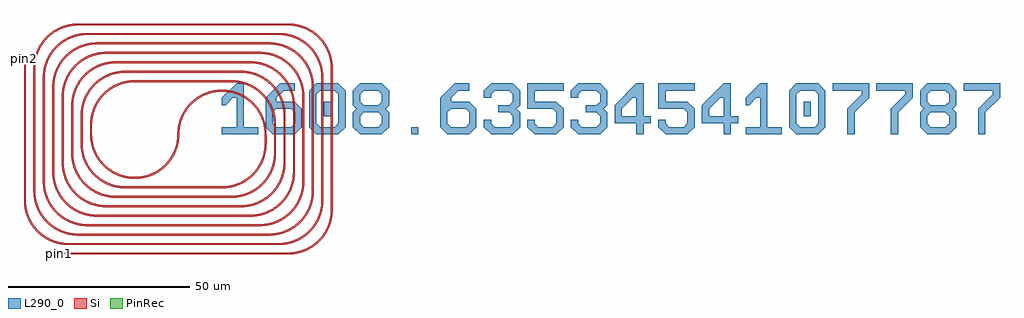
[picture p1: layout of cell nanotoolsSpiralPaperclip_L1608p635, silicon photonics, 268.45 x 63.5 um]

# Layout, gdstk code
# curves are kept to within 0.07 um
import gdstk
lib = gdstk.Library(unit=1e-6, precision=1e-09)
def R(c, l, rs):  # rectangles x0, y0, x1, y1
    for r in rs: c.add(gdstk.rectangle(r[:2], r[2:], *l))
def P(c, l, *ps):  # polygons
    for p in ps: c.add(gdstk.Polygon(p, *l))
Si = (1, 0)
PinRec = (1, 10)
L290_0 = (290, 0)

nanotoolsspiralpaperclip = lib.new_cell('nanotoolsSpiralPaperclip_L1608p635')
R(nanotoolsspiralpaperclip, Si, [(-44.8,-33.05,18.2,-32.55), (-42.2,-30.45,15.6,-29.95), (-39.6,-27.85,13,-27.35), (-37,-25.25,10.4,-24.75), (-34.4,-22.65,7.8,-22.15), (29.95,-20.8,30.45,18.2), (-31.8,-20.05,5.2,-19.55), (-54.45,-18.2,-53.95,20.8), (27.35,-18.2,27.85,15.6), (-29.2,-17.45,2.6,-16.95), (-51.85,-15.6,-51.35,18.2), (24.75,-15.6,25.25,13), (-26.6,-14.85,0,-14.35), (-49.25,-13,-48.75,15.6), (22.15,-13,22.65,10.4), (-46.65,-10.4,-46.15,13), (19.55,-10.4,20.05,7.8), (-44.05,-7.8,-43.55,10.4), (16.95,-7.8,17.45,5.2), (-41.45,-5.2,-40.95,7.8), (14.35,-5.2,14.85,2.6), (-38.85,-2.6,-38.35,5.2), (11.75,-2.6,12.25,0), (-36.25,0,-35.75,2.6), (-24,14.35,2.6,14.85), (-26.6,16.95,5.2,17.45), (-29.2,19.55,7.8,20.05), (-31.8,22.15,10.4,22.65), (-34.4,24.75,13,25.25), (-37,27.35,15.6,27.85), (-39.6,29.95,18.2,30.45)])
P(nanotoolsspiralpaperclip, Si, [(-12.25,0),(-12.192,1.191),(-12.018,2.372),(-11.731,3.529),(-11.332,4.653),(-10.825,5.733),(-10.216,6.759),(-9.511,7.721),(-8.715,8.609),(-7.836,9.416),(-6.883,10.133),(-5.865,10.755),(-4.653,11.332),(-3.529,11.731),(-2.372,12.018),(-1.191,12.192),(0,12.25),(0,11.75),(-1.285,11.68),(-2.555,11.469),(-3.794,11.121),(-4.987,10.639),(-6.72,9.639),(-8.258,8.359),(-9.556,6.837),(-10.577,5.117),(-11.074,3.929),(-11.469,2.555),(-11.68,1.285),(-11.75,0)],
  [(-24,-12.25),(-24,-11.75),(-22.715,-11.68),(-21.445,-11.469),(-20.206,-11.121),(-19.013,-10.639),(-17.28,-9.639),(-15.742,-8.359),(-14.444,-6.837),(-13.423,-5.117),(-12.926,-3.929),(-12.531,-2.555),(-12.32,-1.285),(-12.25,0),(-11.75,0),(-11.808,-1.191),(-11.982,-2.372),(-12.269,-3.529),(-12.668,-4.653),(-13.175,-5.733),(-13.784,-6.759),(-14.489,-7.721),(-15.285,-8.609),(-16.164,-9.416),(-17.117,-10.133),(-18.135,-10.755),(-19.347,-11.332),(-20.471,-11.731),(-21.628,-12.018),(-22.809,-12.192)],
  [(0,-14.85),(0,-14.35),(1.285,-14.28),(2.555,-14.069),(3.794,-13.721),(4.987,-13.239),(6.72,-12.239),(8.258,-10.959),(9.556,-9.437),(10.577,-7.717),(11.074,-6.529),(11.469,-5.155),(11.68,-3.885),(11.75,-2.6),(12.25,-2.6),(12.192,-3.791),(12.018,-4.972),(11.731,-6.129),(11.332,-7.253),(10.825,-8.333),(10.216,-9.359),(9.511,-10.321),(8.715,-11.209),(7.836,-12.016),(6.883,-12.733),(5.865,-13.355),(4.653,-13.932),(3.529,-14.331),(2.372,-14.618),(1.191,-14.792)],
  [(2.6,-17.45),(2.6,-16.95),(3.885,-16.88),(5.155,-16.669),(6.394,-16.321),(7.587,-15.839),(9.32,-14.839),(10.858,-13.559),(12.156,-12.037),(13.177,-10.317),(13.674,-9.129),(14.069,-7.755),(14.28,-6.485),(14.35,-5.2),(14.85,-5.2),(14.792,-6.391),(14.618,-7.572),(14.331,-8.729),(13.932,-9.853),(13.425,-10.933),(12.816,-11.959),(12.111,-12.921),(11.315,-13.809),(10.436,-14.616),(9.483,-15.333),(8.465,-15.955),(7.253,-16.532),(6.129,-16.931),(4.972,-17.218),(3.791,-17.392)],
  [(5.2,-20.05),(5.2,-19.55),(6.485,-19.48),(7.755,-19.269),(8.994,-18.921),(10.187,-18.439),(11.92,-17.439),(13.458,-16.159),(14.756,-14.637),(15.777,-12.917),(16.274,-11.729),(16.669,-10.355),(16.88,-9.085),(16.95,-7.8),(17.45,-7.8),(17.392,-8.991),(17.218,-10.172),(16.931,-11.329),(16.532,-12.453),(16.025,-13.533),(15.416,-14.559),(14.711,-15.521),(13.915,-16.409),(13.036,-17.216),(12.083,-17.933),(11.065,-18.555),(9.853,-19.132),(8.729,-19.531),(7.572,-19.818),(6.391,-19.992)],
  [(7.8,-22.65),(7.8,-22.15),(9.085,-22.08),(10.355,-21.869),(11.594,-21.521),(12.787,-21.039),(14.52,-20.039),(16.058,-18.759),(17.356,-17.237),(18.377,-15.517),(18.874,-14.329),(19.269,-12.955),(19.48,-11.685),(19.55,-10.4),(20.05,-10.4),(19.992,-11.591),(19.818,-12.772),(19.531,-13.929),(19.132,-15.053),(18.625,-16.133),(18.016,-17.159),(17.311,-18.121),(16.515,-19.009),(15.636,-19.816),(14.683,-20.533),(13.665,-21.155),(12.453,-21.732),(11.329,-22.131),(10.172,-22.418),(8.991,-22.592)],
  [(10.4,-25.25),(10.4,-24.75),(11.685,-24.68),(12.955,-24.469),(14.194,-24.121),(15.387,-23.639),(17.12,-22.639),(18.658,-21.359),(19.956,-19.837),(20.977,-18.117),(21.474,-16.929),(21.869,-15.555),(22.08,-14.285),(22.15,-13),(22.65,-13),(22.592,-14.191),(22.418,-15.372),(22.131,-16.529),(21.732,-17.653),(21.225,-18.733),(20.616,-19.759),(19.911,-20.721),(19.115,-21.609),(18.236,-22.416),(17.283,-23.133),(16.265,-23.755),(15.053,-24.332),(13.929,-24.731),(12.772,-25.018),(11.591,-25.192)],
  [(13,-27.85),(13,-27.35),(14.285,-27.28),(15.555,-27.069),(16.794,-26.721),(17.987,-26.239),(19.72,-25.239),(21.258,-23.959),(22.556,-22.437),(23.577,-20.717),(24.074,-19.529),(24.469,-18.155),(24.68,-16.885),(24.75,-15.6),(25.25,-15.6),(25.192,-16.791),(25.018,-17.972),(24.731,-19.129),(24.332,-20.253),(23.825,-21.333),(23.216,-22.359),(22.511,-23.321),(21.715,-24.209),(20.836,-25.016),(19.883,-25.733),(18.865,-26.355),(17.653,-26.932),(16.529,-27.331),(15.372,-27.618),(14.191,-27.792)],
  [(15.6,-30.45),(15.6,-29.95),(16.885,-29.88),(18.155,-29.669),(19.394,-29.321),(20.587,-28.839),(22.32,-27.839),(23.858,-26.559),(25.156,-25.037),(26.177,-23.317),(26.674,-22.129),(27.069,-20.755),(27.28,-19.485),(27.35,-18.2),(27.85,-18.2),(27.792,-19.391),(27.618,-20.572),(27.331,-21.729),(26.932,-22.853),(26.425,-23.933),(25.816,-24.959),(25.111,-25.921),(24.315,-26.809),(23.436,-27.616),(22.483,-28.333),(21.465,-28.955),(20.253,-29.532),(19.129,-29.931),(17.972,-30.218),(16.791,-30.392)],
  [(18.2,-33.05),(18.2,-32.55),(19.485,-32.48),(20.755,-32.269),(21.994,-31.921),(23.187,-31.439),(24.92,-30.439),(26.458,-29.159),(27.756,-27.637),(28.777,-25.917),(29.274,-24.729),(29.669,-23.355),(29.88,-22.085),(29.95,-20.8),(30.45,-20.8),(30.392,-21.991),(30.218,-23.172),(29.931,-24.329),(29.532,-25.453),(29.025,-26.533),(28.416,-27.559),(27.711,-28.521),(26.915,-29.409),(26.036,-30.216),(25.083,-30.933),(24.065,-31.555),(22.853,-32.132),(21.729,-32.531),(20.572,-32.818),(19.391,-32.992)],
  [(11.75,0),(11.555,2.134),(11.292,3.248),(10.923,4.331),(10.45,5.373),(9.878,6.363),(8.558,8.052),(6.953,9.472),(6.121,10.03),(5.117,10.577),(3.929,11.074),(2.555,11.469),(1.285,11.68),(0,11.75),(0,12.25),(1.191,12.192),(2.372,12.018),(3.529,11.731),(4.791,11.274),(5.865,10.755),(7.006,10.049),(7.95,9.32),(8.819,8.502),(9.696,7.487),(10.457,6.382),(11.092,5.2),(11.594,3.955),(12.046,2.225),(12.242,0.447),(12.25,0)],
  [(14.35,2.6),(14.155,4.734),(13.892,5.848),(13.523,6.931),(13.05,7.973),(12.478,8.963),(11.158,10.652),(9.553,12.072),(8.721,12.63),(7.717,13.177),(6.529,13.674),(5.155,14.069),(3.885,14.28),(2.6,14.35),(2.6,14.85),(3.791,14.792),(4.972,14.618),(6.129,14.331),(7.391,13.874),(8.465,13.355),(9.606,12.649),(10.55,11.92),(11.419,11.102),(12.296,10.087),(13.057,8.982),(13.692,7.8),(14.194,6.555),(14.646,4.825),(14.842,3.047),(14.85,2.6)],
  [(16.95,5.2),(16.755,7.334),(16.492,8.448),(16.123,9.531),(15.65,10.573),(15.078,11.563),(13.758,13.252),(12.153,14.672),(11.321,15.23),(10.317,15.777),(9.129,16.274),(7.755,16.669),(6.485,16.88),(5.2,16.95),(5.2,17.45),(6.391,17.392),(7.572,17.218),(8.729,16.931),(9.991,16.474),(11.065,15.955),(12.206,15.249),(13.15,14.52),(14.019,13.702),(14.896,12.687),(15.657,11.582),(16.292,10.4),(16.794,9.155),(17.246,7.425),(17.442,5.647),(17.45,5.2)],
  [(19.55,7.8),(19.355,9.934),(19.092,11.048),(18.723,12.131),(18.25,13.173),(17.678,14.163),(16.358,15.852),(14.753,17.272),(13.921,17.83),(12.917,18.377),(11.729,18.874),(10.355,19.269),(9.085,19.48),(7.8,19.55),(7.8,20.05),(8.991,19.992),(10.172,19.818),(11.329,19.531),(12.591,19.074),(13.665,18.555),(14.806,17.849),(15.75,17.12),(16.619,16.302),(17.496,15.287),(18.257,14.182),(18.892,13),(19.394,11.755),(19.846,10.025),(20.042,8.247),(20.05,7.8)],
  [(22.15,10.4),(21.955,12.534),(21.692,13.648),(21.323,14.731),(20.85,15.773),(20.278,16.763),(18.958,18.452),(17.353,19.872),(16.521,20.43),(15.517,20.977),(14.329,21.474),(12.955,21.869),(11.685,22.08),(10.4,22.15),(10.4,22.65),(11.591,22.592),(12.772,22.418),(13.929,22.131),(15.191,21.674),(16.265,21.155),(17.406,20.449),(18.35,19.72),(19.219,18.902),(20.096,17.887),(20.857,16.782),(21.492,15.6),(21.994,14.355),(22.446,12.625),(22.642,10.847),(22.65,10.4)],
  [(24.75,13),(24.555,15.134),(24.292,16.248),(23.923,17.331),(23.45,18.373),(22.878,19.363),(21.558,21.052),(19.953,22.472),(19.121,23.03),(18.117,23.577),(16.929,24.074),(15.555,24.469),(14.285,24.68),(13,24.75),(13,25.25),(14.191,25.192),(15.372,25.018),(16.529,24.731),(17.791,24.274),(18.865,23.755),(20.006,23.049),(20.95,22.32),(21.819,21.502),(22.696,20.487),(23.457,19.382),(24.092,18.2),(24.594,16.955),(25.046,15.225),(25.242,13.447),(25.25,13)],
  [(27.35,15.6),(27.155,17.734),(26.892,18.848),(26.523,19.931),(26.05,20.973),(25.478,21.963),(24.158,23.652),(22.553,25.072),(21.721,25.63),(20.717,26.177),(19.529,26.674),(18.155,27.069),(16.885,27.28),(15.6,27.35),(15.6,27.85),(16.791,27.792),(17.972,27.618),(19.129,27.331),(20.391,26.874),(21.465,26.355),(22.606,25.649),(23.55,24.92),(24.419,24.102),(25.296,23.087),(26.057,21.982),(26.692,20.8),(27.194,19.555),(27.646,17.825),(27.842,16.047),(27.85,15.6)],
  [(29.95,18.2),(29.755,20.334),(29.492,21.448),(29.123,22.531),(28.65,23.573),(28.078,24.563),(26.758,26.252),(25.153,27.672),(24.321,28.23),(23.317,28.777),(22.129,29.274),(20.755,29.669),(19.485,29.88),(18.2,29.95),(18.2,30.45),(19.391,30.392),(20.572,30.218),(21.729,29.931),(22.991,29.474),(24.065,28.955),(25.206,28.249),(26.15,27.52),(27.019,26.702),(27.896,25.687),(28.657,24.582),(29.292,23.4),(29.794,22.155),(30.246,20.425),(30.442,18.647),(30.45,18.2)],
  [(-36.25,2.6),(-36.192,3.791),(-36.018,4.972),(-35.731,6.129),(-35.332,7.253),(-34.825,8.333),(-34.216,9.359),(-33.511,10.321),(-32.715,11.209),(-31.836,12.016),(-30.883,12.733),(-29.865,13.355),(-28.653,13.932),(-27.529,14.331),(-26.372,14.618),(-25.191,14.792),(-24,14.85),(-24,14.35),(-25.285,14.28),(-26.555,14.069),(-27.794,13.721),(-28.987,13.239),(-30.72,12.239),(-32.258,10.959),(-33.556,9.437),(-34.577,7.717),(-35.074,6.529),(-35.469,5.155),(-35.68,3.885),(-35.75,2.6)],
  [(-38.85,5.2),(-38.792,6.391),(-38.618,7.572),(-38.331,8.729),(-37.932,9.853),(-37.425,10.933),(-36.816,11.959),(-36.111,12.921),(-35.315,13.809),(-34.436,14.616),(-33.483,15.333),(-32.465,15.955),(-31.253,16.532),(-30.129,16.931),(-28.972,17.218),(-27.791,17.392),(-26.6,17.45),(-26.6,16.95),(-27.885,16.88),(-29.155,16.669),(-30.394,16.321),(-31.587,15.839),(-33.32,14.839),(-34.858,13.559),(-36.156,12.037),(-37.177,10.317),(-37.674,9.129),(-38.069,7.755),(-38.28,6.485),(-38.35,5.2)],
  [(-41.45,7.8),(-41.392,8.991),(-41.218,10.172),(-40.931,11.329),(-40.532,12.453),(-40.025,13.533),(-39.416,14.559),(-38.711,15.521),(-37.915,16.409),(-37.036,17.216),(-36.083,17.933),(-35.065,18.555),(-33.853,19.132),(-32.729,19.531),(-31.572,19.818),(-30.391,19.992),(-29.2,20.05),(-29.2,19.55),(-30.485,19.48),(-31.755,19.269),(-32.994,18.921),(-34.187,18.439),(-35.92,17.439),(-37.458,16.159),(-38.756,14.637),(-39.777,12.917),(-40.274,11.729),(-40.669,10.355),(-40.88,9.085),(-40.95,7.8)],
  [(-44.05,10.4),(-43.992,11.591),(-43.818,12.772),(-43.531,13.929),(-43.132,15.053),(-42.625,16.133),(-42.016,17.159),(-41.311,18.121),(-40.515,19.009),(-39.636,19.816),(-38.683,20.533),(-37.665,21.155),(-36.453,21.732),(-35.329,22.131),(-34.172,22.418),(-32.991,22.592),(-31.8,22.65),(-31.8,22.15),(-33.085,22.08),(-34.355,21.869),(-35.594,21.521),(-36.787,21.039),(-38.52,20.039),(-40.058,18.759),(-41.356,17.237),(-42.377,15.517),(-42.874,14.329),(-43.269,12.955),(-43.48,11.685),(-43.55,10.4)],
  [(-46.65,13),(-46.592,14.191),(-46.418,15.372),(-46.131,16.529),(-45.732,17.653),(-45.225,18.733),(-44.616,19.759),(-43.911,20.721),(-43.115,21.609),(-42.236,22.416),(-41.283,23.133),(-40.265,23.755),(-39.053,24.332),(-37.929,24.731),(-36.772,25.018),(-35.591,25.192),(-34.4,25.25),(-34.4,24.75),(-35.685,24.68),(-36.955,24.469),(-38.194,24.121),(-39.387,23.639),(-41.12,22.639),(-42.658,21.359),(-43.956,19.837),(-44.977,18.117),(-45.474,16.929),(-45.869,15.555),(-46.08,14.285),(-46.15,13)],
  [(-49.25,15.6),(-49.192,16.791),(-49.018,17.972),(-48.731,19.129),(-48.332,20.253),(-47.825,21.333),(-47.216,22.359),(-46.511,23.321),(-45.715,24.209),(-44.836,25.016),(-43.883,25.733),(-42.865,26.355),(-41.653,26.932),(-40.529,27.331),(-39.372,27.618),(-38.191,27.792),(-37,27.85),(-37,27.35),(-38.285,27.28),(-39.555,27.069),(-40.794,26.721),(-41.987,26.239),(-43.72,25.239),(-45.258,23.959),(-46.556,22.437),(-47.577,20.717),(-48.074,19.529),(-48.469,18.155),(-48.68,16.885),(-48.75,15.6)],
  [(-51.85,18.2),(-51.792,19.391),(-51.618,20.572),(-51.331,21.729),(-50.932,22.853),(-50.425,23.933),(-49.816,24.959),(-49.111,25.921),(-48.315,26.809),(-47.436,27.616),(-46.483,28.333),(-45.465,28.955),(-44.253,29.532),(-43.129,29.931),(-41.972,30.218),(-40.791,30.392),(-39.6,30.45),(-39.6,29.95),(-40.885,29.88),(-42.155,29.669),(-43.394,29.321),(-44.587,28.839),(-46.32,27.839),(-47.858,26.559),(-49.156,25.037),(-50.177,23.317),(-50.674,22.129),(-51.069,20.755),(-51.28,19.485),(-51.35,18.2)],
  [(-24,-12.25),(-25.191,-12.192),(-26.372,-12.018),(-27.529,-11.731),(-28.653,-11.332),(-29.733,-10.825),(-30.759,-10.216),(-31.721,-9.511),(-32.609,-8.715),(-33.416,-7.836),(-34.133,-6.883),(-34.755,-5.865),(-35.332,-4.653),(-35.731,-3.529),(-36.018,-2.372),(-36.192,-1.191),(-36.25,0),(-35.75,0),(-35.68,-1.285),(-35.469,-2.555),(-35.121,-3.794),(-34.639,-4.987),(-33.639,-6.72),(-32.359,-8.258),(-30.837,-9.556),(-29.117,-10.577),(-27.929,-11.074),(-26.555,-11.469),(-25.285,-11.68),(-24,-11.75)],
  [(-26.6,-14.85),(-27.791,-14.792),(-28.972,-14.618),(-30.129,-14.331),(-31.253,-13.932),(-32.333,-13.425),(-33.359,-12.816),(-34.321,-12.111),(-35.209,-11.315),(-36.016,-10.436),(-36.733,-9.483),(-37.355,-8.465),(-37.932,-7.253),(-38.331,-6.129),(-38.618,-4.972),(-38.792,-3.791),(-38.85,-2.6),(-38.35,-2.6),(-38.28,-3.885),(-38.069,-5.155),(-37.721,-6.394),(-37.239,-7.587),(-36.239,-9.32),(-34.959,-10.858),(-33.437,-12.156),(-31.717,-13.177),(-30.529,-13.674),(-29.155,-14.069),(-27.885,-14.28),(-26.6,-14.35)],
  [(-29.2,-17.45),(-30.391,-17.392),(-31.572,-17.218),(-32.729,-16.931),(-33.853,-16.532),(-34.933,-16.025),(-35.959,-15.416),(-36.921,-14.711),(-37.809,-13.915),(-38.616,-13.036),(-39.333,-12.083),(-39.955,-11.065),(-40.532,-9.853),(-40.931,-8.729),(-41.218,-7.572),(-41.392,-6.391),(-41.45,-5.2),(-40.95,-5.2),(-40.88,-6.485),(-40.669,-7.755),(-40.321,-8.994),(-39.839,-10.187),(-38.839,-11.92),(-37.559,-13.458),(-36.037,-14.756),(-34.317,-15.777),(-33.129,-16.274),(-31.755,-16.669),(-30.485,-16.88),(-29.2,-16.95)],
  [(-31.8,-20.05),(-32.991,-19.992),(-34.172,-19.818),(-35.329,-19.531),(-36.453,-19.132),(-37.533,-18.625),(-38.559,-18.016),(-39.521,-17.311),(-40.409,-16.515),(-41.216,-15.636),(-41.933,-14.683),(-42.555,-13.665),(-43.132,-12.453),(-43.531,-11.329),(-43.818,-10.172),(-43.992,-8.991),(-44.05,-7.8),(-43.55,-7.8),(-43.48,-9.085),(-43.269,-10.355),(-42.921,-11.594),(-42.439,-12.787),(-41.439,-14.52),(-40.159,-16.058),(-38.637,-17.356),(-36.917,-18.377),(-35.729,-18.874),(-34.355,-19.269),(-33.085,-19.48),(-31.8,-19.55)],
  [(-34.4,-22.65),(-35.591,-22.592),(-36.772,-22.418),(-37.929,-22.131),(-39.053,-21.732),(-40.133,-21.225),(-41.159,-20.616),(-42.121,-19.911),(-43.009,-19.115),(-43.816,-18.236),(-44.533,-17.283),(-45.155,-16.265),(-45.732,-15.053),(-46.131,-13.929),(-46.418,-12.772),(-46.592,-11.591),(-46.65,-10.4),(-46.15,-10.4),(-46.08,-11.685),(-45.869,-12.955),(-45.521,-14.194),(-45.039,-15.387),(-44.039,-17.12),(-42.759,-18.658),(-41.237,-19.956),(-39.517,-20.977),(-38.329,-21.474),(-36.955,-21.869),(-35.685,-22.08),(-34.4,-22.15)],
  [(-37,-25.25),(-38.191,-25.192),(-39.372,-25.018),(-40.529,-24.731),(-41.653,-24.332),(-42.733,-23.825),(-43.759,-23.216),(-44.721,-22.511),(-45.609,-21.715),(-46.416,-20.836),(-47.133,-19.883),(-47.755,-18.865),(-48.332,-17.653),(-48.731,-16.529),(-49.018,-15.372),(-49.192,-14.191),(-49.25,-13),(-48.75,-13),(-48.68,-14.285),(-48.469,-15.555),(-48.121,-16.794),(-47.639,-17.987),(-46.639,-19.72),(-45.359,-21.258),(-43.837,-22.556),(-42.117,-23.577),(-40.929,-24.074),(-39.555,-24.469),(-38.285,-24.68),(-37,-24.75)],
  [(-39.6,-27.85),(-40.791,-27.792),(-41.972,-27.618),(-43.129,-27.331),(-44.253,-26.932),(-45.333,-26.425),(-46.359,-25.816),(-47.321,-25.111),(-48.209,-24.315),(-49.016,-23.436),(-49.733,-22.483),(-50.355,-21.465),(-50.932,-20.253),(-51.331,-19.129),(-51.618,-17.972),(-51.792,-16.791),(-51.85,-15.6),(-51.35,-15.6),(-51.28,-16.885),(-51.069,-18.155),(-50.721,-19.394),(-50.239,-20.587),(-49.239,-22.32),(-47.959,-23.858),(-46.437,-25.156),(-44.717,-26.177),(-43.529,-26.674),(-42.155,-27.069),(-40.885,-27.28),(-39.6,-27.35)],
  [(-42.2,-30.45),(-43.391,-30.392),(-44.572,-30.218),(-45.729,-29.931),(-46.853,-29.532),(-47.933,-29.025),(-48.959,-28.416),(-49.921,-27.711),(-50.809,-26.915),(-51.616,-26.036),(-52.333,-25.083),(-52.955,-24.065),(-53.532,-22.853),(-53.931,-21.729),(-54.218,-20.572),(-54.392,-19.391),(-54.45,-18.2),(-53.95,-18.2),(-53.88,-19.485),(-53.669,-20.755),(-53.321,-21.994),(-52.839,-23.187),(-51.839,-24.92),(-50.559,-26.458),(-49.037,-27.756),(-47.317,-28.777),(-46.129,-29.274),(-44.755,-29.669),(-43.485,-29.88),(-42.2,-29.95)])
R(nanotoolsspiralpaperclip, L290_0, [(52,0,54,2), (28,5,30,9), (160,5,162,9)])
P(nanotoolsspiralpaperclip, L290_0, [(0,0),(0,2),(4,2),(4,10),(3,10),(1,8),(0,8),(0,10),(4,14),(6,14),(6,2),(10,2),(10,0)],
  [(14,0),(12,2),(12,10),(16,14),(20,14),(20,12),(17,12),(15,10),(15,9),(20,9),(22,7),(15,7),(14,6),(14,3),(15,2),(19,2),(20,3),(20,6),(19,7),(22,7),(22,2),(20,0)],
  [(26,0),(24,2),(24,12),(26,14),(32,14),(34,12),(27,12),(26,11),(26,3),(27,2),(31,2),(32,3),(32,11),(31,12),(34,12),(34,2),(32,0)],
  [(38,0),(36,2),(36,6),(37,7),(36,8),(36,12),(38,14),(44,14),(46,12),(39,12),(38,11),(38,9),(39,8),(43,8),(44,9),(44,11),(43,12),(46,12),(46,8),(45,7),(46,6),(39,6),(38,5),(38,3),(39,2),(43,2),(44,3),(44,5),(43,6),(46,6),(46,2),(44,0)],
  [(62,0),(60,2),(60,10),(64,14),(68,14),(68,12),(65,12),(63,10),(63,9),(68,9),(70,7),(63,7),(62,6),(62,3),(63,2),(67,2),(68,3),(68,6),(67,7),(70,7),(70,2),(68,0)],
  [(74,0),(72,2),(72,4),(74,4),(74,3),(75,2),(79,2),(80,3),(80,5),(79,6),(76,6),(76,8),(79,8),(80,9),(80,11),(79,12),(75,12),(74,11),(74,10),(72,10),(72,12),(74,14),(80,14),(82,12),(82,8),(81,7),(82,6),(82,2),(80,0)],
  [(86,0),(84,2),(84,4),(86,4),(86,3),(87,2),(91,2),(92,3),(92,6),(91,7),(84,7),(84,14),(94,14),(94,12),(86,12),(86,9),(92,9),(94,7),(94,2),(92,0)],
  [(98,0),(96,2),(96,4),(98,4),(98,3),(99,2),(103,2),(104,3),(104,5),(103,6),(100,6),(100,8),(103,8),(104,9),(104,11),(103,12),(99,12),(98,11),(98,10),(96,10),(96,12),(98,14),(104,14),(106,12),(106,8),(105,7),(106,6),(106,2),(104,0)],
  [(114,0),(114,3),(108,3),(108,5),(114,5),(114,10),(113,10),(110,7),(110,5),(108,5),(108,8),(114,14),(116,14),(116,5),(118,5),(118,3),(116,3),(116,0)],
  [(122,0),(120,2),(120,4),(122,4),(122,3),(123,2),(127,2),(128,3),(128,6),(127,7),(120,7),(120,14),(130,14),(130,12),(122,12),(122,9),(128,9),(130,7),(130,2),(128,0)],
  [(138,0),(138,3),(132,3),(132,5),(138,5),(138,10),(137,10),(134,7),(134,5),(132,5),(132,8),(138,14),(140,14),(140,5),(142,5),(142,3),(140,3),(140,0)],
  [(144,0),(144,2),(148,2),(148,10),(147,10),(145,8),(144,8),(144,10),(148,14),(150,14),(150,2),(154,2),(154,0)],
  [(158,0),(156,2),(156,12),(158,14),(164,14),(166,12),(159,12),(158,11),(158,3),(159,2),(163,2),(164,3),(164,11),(163,12),(166,12),(166,2),(164,0)],
  [(172,0),(172,7),(176,11),(176,12),(168,12),(168,14),(178,14),(178,10),(174,6),(174,0)],
  [(184,0),(184,7),(188,11),(188,12),(180,12),(180,14),(190,14),(190,10),(186,6),(186,0)],
  [(194,0),(192,2),(192,6),(193,7),(192,8),(192,12),(194,14),(200,14),(202,12),(195,12),(194,11),(194,9),(195,8),(199,8),(200,9),(200,11),(199,12),(202,12),(202,8),(201,7),(202,6),(195,6),(194,5),(194,3),(195,2),(199,2),(200,3),(200,5),(199,6),(202,6),(202,2),(200,0)],
  [(208,0),(208,7),(212,11),(212,12),(204,12),(204,14),(214,14),(214,10),(210,6),(210,0)])
nanotoolsspiralpaperclip.add(gdstk.FlexPath([(-44.75,-32.8),(-44.85,-32.8)], 0.5, ends="flush", simple_path=True, layer=1, datatype=10))  # PinRec
nanotoolsspiralpaperclip.add(gdstk.FlexPath([(-54.2,20.75),(-54.2,20.85)], 0.5, ends="flush", simple_path=True, layer=1, datatype=10))  # PinRec
nanotoolsspiralpaperclip.add(gdstk.Label('pin1', (-44.8,-32.8), layer=1, texttype=10))
nanotoolsspiralpaperclip.add(gdstk.Label('pin2', (-54.2,20.8), layer=1, texttype=10))

lib.write_gds('nanotoolsSpiralPaperclip_L1608p635.gds')
